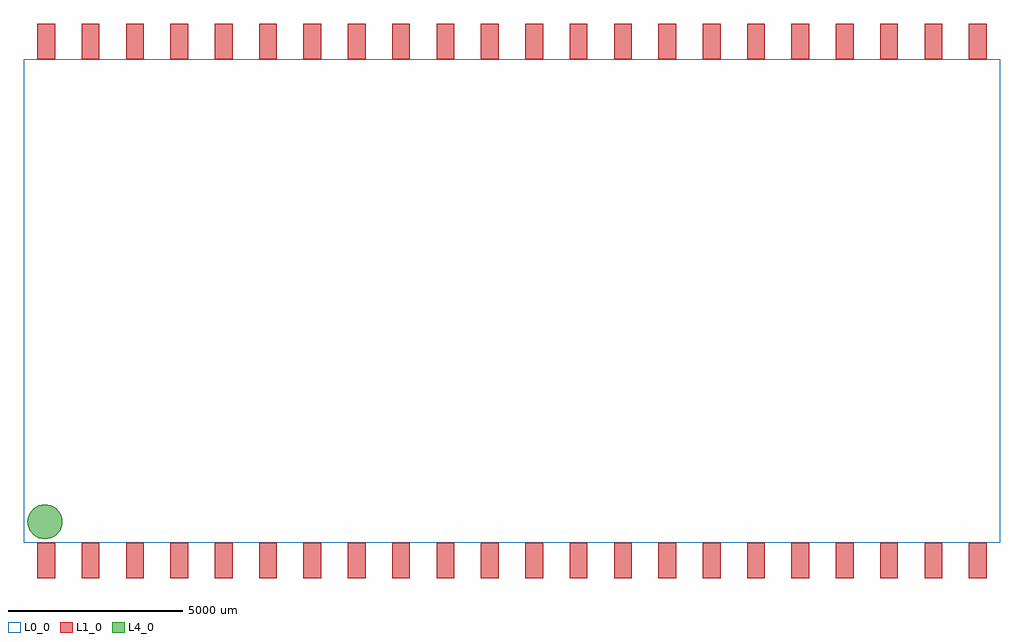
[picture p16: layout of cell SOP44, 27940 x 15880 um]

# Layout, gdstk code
import gdstk
lib = gdstk.Library(unit=1e-6, precision=1e-09)
def R(c, l, rs):  # rectangles x0, y0, x1, y1
    for r in rs: c.add(gdstk.rectangle(r[:2], r[2:], *l))
def A(c, l, x, y, w, h, nx, ny, dx, dy):  # array of equal rectangles
    R(c, l, [(x+i*dx, y+j*dy, x+i*dx+w, y+j*dy+h) for i in range(nx) for j in range(ny)])
def P(c, l, *ps):  # polygons
    for p in ps: c.add(gdstk.Polygon(p, *l))
L0_0 = (0, 0)
L1_0 = (1, 0)
L4_0 = (4, 0)
L99_1 = (99, 1)
L99_2 = (99, 2)
L99_3 = (99, 3)
L99_4 = (99, 4)
L99_5 = (99, 5)
L99_6 = (99, 6)
L99_7 = (99, 7)
L99_8 = (99, 8)
L99_9 = (99, 9)
L99_10 = (99, 10)
L99_11 = (99, 11)
L99_12 = (99, 12)
L99_13 = (99, 13)
L99_14 = (99, 14)
L99_15 = (99, 15)
L99_16 = (99, 16)
L99_17 = (99, 17)
L99_18 = (99, 18)
L99_19 = (99, 19)
L99_20 = (99, 20)
L99_21 = (99, 21)
L99_22 = (99, 22)
L99_23 = (99, 23)
L99_24 = (99, 24)
L99_25 = (99, 25)
L99_26 = (99, 26)
L99_27 = (99, 27)
L99_28 = (99, 28)
L99_29 = (99, 29)
L99_30 = (99, 30)
L99_31 = (99, 31)
L99_32 = (99, 32)
L99_33 = (99, 33)
L99_34 = (99, 34)
L99_35 = (99, 35)
L99_36 = (99, 36)
L99_37 = (99, 37)
L99_38 = (99, 38)
L99_39 = (99, 39)
L99_40 = (99, 40)
L99_41 = (99, 41)
L99_42 = (99, 42)
L99_43 = (99, 43)
L99_44 = (99, 44)

sop44 = lib.new_cell('SOP44')
R(sop44, L0_0, [(0,0,27940,13840)])
A(sop44, L1_0, 380, -1020, 510, 1020, 22, 2, 1270, 14860)
P(sop44, L4_0, [(1100,600),(1092.404,513.176),(1069.846,428.99),(1033.013,350),(983.022,278.606),(921.394,216.978),(850,166.987),(771.01,130.154),(686.824,107.596),(600,100),(513.176,107.596),(428.99,130.154),(350,166.987),(278.606,216.978),(216.978,278.606),(166.987,350),(130.154,428.99),(107.596,513.176),(100,600),(107.596,686.824),(130.154,771.01),(166.987,850),(216.978,921.394),(278.606,983.022),(350,1033.013),(428.99,1069.846),(513.176,1092.404),(600,1100),(686.824,1092.404),(771.01,1069.846),(850,1033.013),(921.394,983.022),(983.022,921.394),(1033.013,850),(1069.846,771.01),(1092.404,686.824)])
sop44.add(gdstk.FlexPath([(890,0),(380,0)], 0, ends="round", simple_path=True, layer=99, datatype=1))  # L99_1
sop44.add(gdstk.FlexPath([(2160,0),(1650,0)], 0, ends="round", simple_path=True, layer=99, datatype=2))  # L99_2
sop44.add(gdstk.FlexPath([(3430,0),(2920,0)], 0, ends="round", simple_path=True, layer=99, datatype=3))  # L99_3
sop44.add(gdstk.FlexPath([(4700,0),(4190,0)], 0, ends="round", simple_path=True, layer=99, datatype=4))  # L99_4
sop44.add(gdstk.FlexPath([(5970,0),(5460,0)], 0, ends="round", simple_path=True, layer=99, datatype=5))  # L99_5
sop44.add(gdstk.FlexPath([(7240,0),(6730,0)], 0, ends="round", simple_path=True, layer=99, datatype=6))  # L99_6
sop44.add(gdstk.FlexPath([(8510,0),(8000,0)], 0, ends="round", simple_path=True, layer=99, datatype=7))  # L99_7
sop44.add(gdstk.FlexPath([(9780,0),(9270,0)], 0, ends="round", simple_path=True, layer=99, datatype=8))  # L99_8
sop44.add(gdstk.FlexPath([(11050,0),(10540,0)], 0, ends="round", simple_path=True, layer=99, datatype=9))  # L99_9
sop44.add(gdstk.FlexPath([(12320,0),(11810,0)], 0, ends="round", simple_path=True, layer=99, datatype=10))  # L99_10
sop44.add(gdstk.FlexPath([(13590,0),(13080,0)], 0, ends="round", simple_path=True, layer=99, datatype=11))  # L99_11
sop44.add(gdstk.FlexPath([(14860,0),(14350,0)], 0, ends="round", simple_path=True, layer=99, datatype=12))  # L99_12
sop44.add(gdstk.FlexPath([(16130,0),(15620,0)], 0, ends="round", simple_path=True, layer=99, datatype=13))  # L99_13
sop44.add(gdstk.FlexPath([(17400,0),(16890,0)], 0, ends="round", simple_path=True, layer=99, datatype=14))  # L99_14
sop44.add(gdstk.FlexPath([(18670,0),(18160,0)], 0, ends="round", simple_path=True, layer=99, datatype=15))  # L99_15
sop44.add(gdstk.FlexPath([(19940,0),(19430,0)], 0, ends="round", simple_path=True, layer=99, datatype=16))  # L99_16
sop44.add(gdstk.FlexPath([(21210,0),(20700,0)], 0, ends="round", simple_path=True, layer=99, datatype=17))  # L99_17
sop44.add(gdstk.FlexPath([(22480,0),(21970,0)], 0, ends="round", simple_path=True, layer=99, datatype=18))  # L99_18
sop44.add(gdstk.FlexPath([(23750,0),(23240,0)], 0, ends="round", simple_path=True, layer=99, datatype=19))  # L99_19
sop44.add(gdstk.FlexPath([(25020,0),(24510,0)], 0, ends="round", simple_path=True, layer=99, datatype=20))  # L99_20
sop44.add(gdstk.FlexPath([(26290,0),(25780,0)], 0, ends="round", simple_path=True, layer=99, datatype=21))  # L99_21
sop44.add(gdstk.FlexPath([(27560,0),(27050,0)], 0, ends="round", simple_path=True, layer=99, datatype=22))  # L99_22
sop44.add(gdstk.FlexPath([(380,13840),(890,13840)], 0, ends="round", simple_path=True, layer=99, datatype=44))  # L99_44
sop44.add(gdstk.FlexPath([(1650,13840),(2160,13840)], 0, ends="round", simple_path=True, layer=99, datatype=43))  # L99_43
sop44.add(gdstk.FlexPath([(2920,13840),(3430,13840)], 0, ends="round", simple_path=True, layer=99, datatype=42))  # L99_42
sop44.add(gdstk.FlexPath([(4190,13840),(4700,13840)], 0, ends="round", simple_path=True, layer=99, datatype=41))  # L99_41
sop44.add(gdstk.FlexPath([(5460,13840),(5970,13840)], 0, ends="round", simple_path=True, layer=99, datatype=40))  # L99_40
sop44.add(gdstk.FlexPath([(6730,13840),(7240,13840)], 0, ends="round", simple_path=True, layer=99, datatype=39))  # L99_39
sop44.add(gdstk.FlexPath([(8000,13840),(8510,13840)], 0, ends="round", simple_path=True, layer=99, datatype=38))  # L99_38
sop44.add(gdstk.FlexPath([(9270,13840),(9780,13840)], 0, ends="round", simple_path=True, layer=99, datatype=37))  # L99_37
sop44.add(gdstk.FlexPath([(10540,13840),(11050,13840)], 0, ends="round", simple_path=True, layer=99, datatype=36))  # L99_36
sop44.add(gdstk.FlexPath([(11810,13840),(12320,13840)], 0, ends="round", simple_path=True, layer=99, datatype=35))  # L99_35
sop44.add(gdstk.FlexPath([(13080,13840),(13590,13840)], 0, ends="round", simple_path=True, layer=99, datatype=34))  # L99_34
sop44.add(gdstk.FlexPath([(14350,13840),(14860,13840)], 0, ends="round", simple_path=True, layer=99, datatype=33))  # L99_33
sop44.add(gdstk.FlexPath([(15620,13840),(16130,13840)], 0, ends="round", simple_path=True, layer=99, datatype=32))  # L99_32
sop44.add(gdstk.FlexPath([(16890,13840),(17400,13840)], 0, ends="round", simple_path=True, layer=99, datatype=31))  # L99_31
sop44.add(gdstk.FlexPath([(18160,13840),(18670,13840)], 0, ends="round", simple_path=True, layer=99, datatype=30))  # L99_30
sop44.add(gdstk.FlexPath([(19430,13840),(19940,13840)], 0, ends="round", simple_path=True, layer=99, datatype=29))  # L99_29
sop44.add(gdstk.FlexPath([(20700,13840),(21210,13840)], 0, ends="round", simple_path=True, layer=99, datatype=28))  # L99_28
sop44.add(gdstk.FlexPath([(21970,13840),(22480,13840)], 0, ends="round", simple_path=True, layer=99, datatype=27))  # L99_27
sop44.add(gdstk.FlexPath([(23240,13840),(23750,13840)], 0, ends="round", simple_path=True, layer=99, datatype=26))  # L99_26
sop44.add(gdstk.FlexPath([(24510,13840),(25020,13840)], 0, ends="round", simple_path=True, layer=99, datatype=25))  # L99_25
sop44.add(gdstk.FlexPath([(25780,13840),(26290,13840)], 0, ends="round", simple_path=True, layer=99, datatype=24))  # L99_24
sop44.add(gdstk.FlexPath([(27050,13840),(27560,13840)], 0, ends="round", simple_path=True, layer=99, datatype=23))  # L99_23

lib.write_gds('SOP44.gds')
